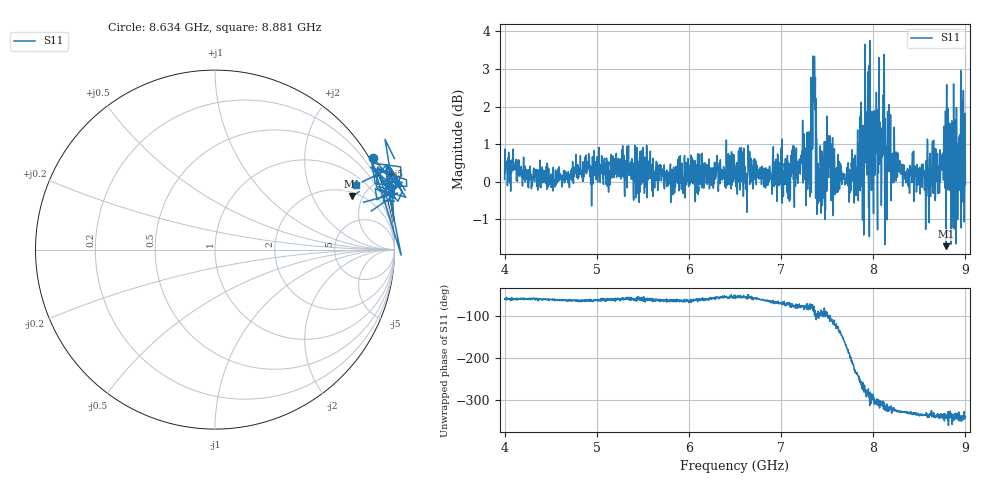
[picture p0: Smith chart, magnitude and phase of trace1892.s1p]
! Created with skrf 1.8.0 (http://scikit-rf.org).
# Hz S RI R 50.0
!freq ReS11 ImS11
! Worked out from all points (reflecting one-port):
!   1601 points, 4 GHz to 9 GHz, reference 50 ohm
!   lowest |S11| = -1.7 dB at 8.791 GHz (marker M1), VSWR 10.19, Z = 114 + j208 ohm
!   phase of S11 starts at -59 deg and turns -282 deg over the sweep
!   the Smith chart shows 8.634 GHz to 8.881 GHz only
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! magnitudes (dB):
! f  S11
! 4 GHz  0.1
! 4.625 GHz  -0.1
! 5.25 GHz  0.3
! 5.875 GHz  0.2
! 6.5 GHz  0.3
! 7.125 GHz  0.5
! 7.297 GHz  0.4
! 7.347 GHz  3.3
! 7.359 GHz  2.2
! 7.412 GHz  0.1
! 7.538 GHz  1.0
! 7.591 GHz  0.3
! 7.75 GHz  -0.3
! 7.875 GHz  0.0
! 7.928 GHz  0.4
! 7.981 GHz  -0.2
! 7.988 GHz  1.9
! 8.022 GHz  0.8
! 8.038 GHz  0.8
! 8.069 GHz  1.2
! 8.119 GHz  3.4
! 8.216 GHz  0.7
! 8.375 GHz  0.1
! 8.697 GHz  0.7
! 8.791 GHz  -1.7
! 8.906 GHz  0.8
! 8.959 GHz  2.2
! 9 GHz  -0.1
